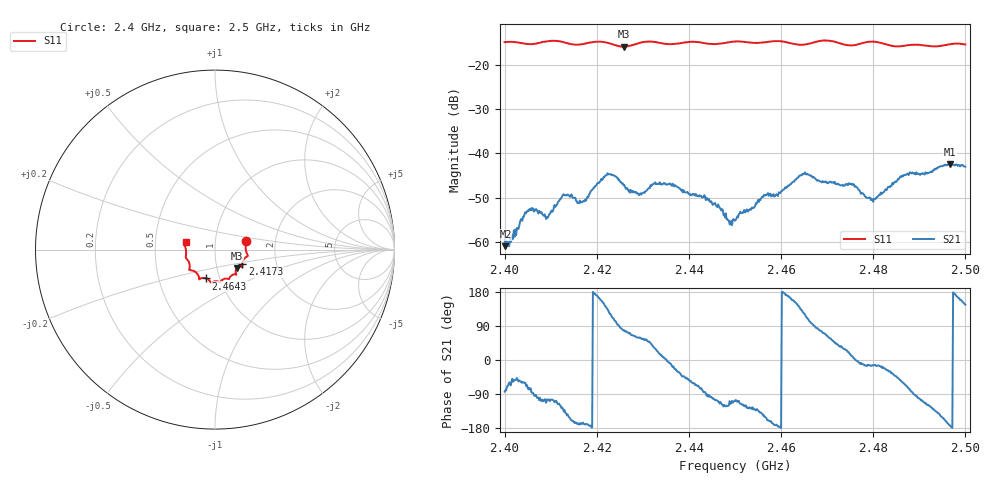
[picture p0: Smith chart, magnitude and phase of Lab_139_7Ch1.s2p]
# Hz S RI R 50
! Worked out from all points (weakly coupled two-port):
!   601 points, 2.4 GHz to 2.5 GHz, reference 50 ohm
!   highest |S21| = -42.45 dB at 2.4967 GHz (marker M1); lowest = -61.0 dB at 2.4002 GHz (marker M2)
!   lowest |S11| = -15.9 dB at 2.4258 GHz (marker M3), VSWR 1.38, Z = 62.3 - j13.2 ohm
!   |S11| at or under -10 dB: start of sweep to end of sweep
!   S12 and S22 are empty: the file has one direction only
!   S11 on the Smith chart (normalised r, x): 2.4 GHz: 1.41, +0.14; 2.4173 GHz: 1.34, -0.23; 2.4643 GHz: 0.86, -0.28; 2.5 GHz: 0.72, +0.06
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2.4e9  0.1733 0.049  0.000117 -0.00105  0 0  0 0
2.400167e9  0.1738 0.0485  0.000157 -0.00088  0 0  0 0
2.4055e9  0.1708 0.00791  0.00048 -0.00223  0 0  0 0
2.409e9  0.1812 -0.0291  -0.000706 -0.00167  0 0  0 0
2.412833e9  0.1754 -0.0404  -0.00246 -0.00242  0 0  0 0
2.416667e9  0.153 -0.0745  -0.00276 -0.000631  0 0  0 0
2.417333e9  0.152 -0.0821  -0.00283 -0.000522  0 0  0 0
2.422333e9  0.1499 -0.0946  -0.00411 0.00431  0 0  0 0
2.425833e9  0.1219 -0.1036  0.000928 0.00425  0 0  0 0
2.429333e9  0.1163 -0.1336  0.00175 0.00297  0 0  0 0
2.433333e9  0.1127 -0.1374  0.0042 0.0016  0 0  0 0
2.443833e9  0.0646 -0.1613  -0.000234 -0.00314  0 0  0 0
2.448833e9  0.032 -0.1776  -0.000506 -0.0015  0 0  0 0
2.45e9  0.0289 -0.1811  -0.000554 -0.00165  0 0  0 0
2.464333e9  -0.05 -0.1605  -0.00385 0.00415  0 0  0 0
2.466667e9  -0.0759 -0.1591  -0.000599 0.00547  0 0  0 0
2.475333e9  -0.1098 -0.1238  0.00434 0.000853  0 0  0 0
2.479833e9  -0.1432 -0.1134  0.00294 -0.000717  0 0  0 0
2.483333e9  -0.1408 -0.0897  0.00361 -0.00208  0 0  0 0
2.486833e9  -0.1539 -0.0565  0.0025 -0.00515  0 0  0 0
2.496667e9  -0.169 0.0249  -0.00749 -0.000889  0 0  0 0
2.5e9  -0.1641 0.0427  -0.00587 0.00396  0 0  0 0
